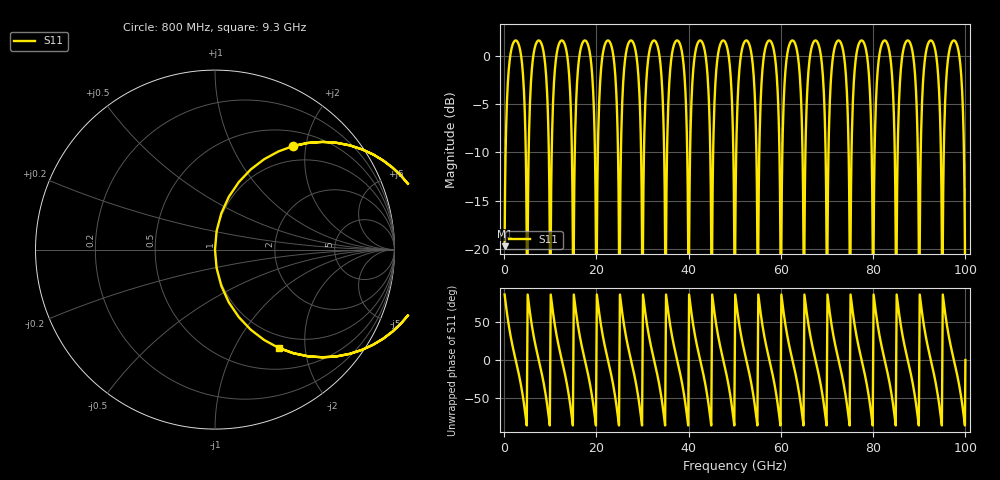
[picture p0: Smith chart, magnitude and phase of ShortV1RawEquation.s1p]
! File created by SignalIntegrity v1.1.4: Signal and Power Integrity Tools
! https://github.com/TeledyneLeCroy/SignalIntegrity
# MHz MA S R 50.0
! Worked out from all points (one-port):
!   1000 points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, 100 MHz to 100 GHz, reference 50 ohm
!   lowest |S11| = -19.7 dB at 100 MHz (marker M1), VSWR 1.23, Z = 49.8 + j10.4 ohm
!   |S11| at or under -10 dB: 4.686 GHz to 5.314 GHz (627.9 MHz wide, 12.6 % of centre); 9.686 GHz to 10.31 GHz (627.9 MHz wide, 6.28 % of centre); 14.69 GHz to 15.31 GHz (627.9 MHz wide, 4.19 % of centre) (the widest 3 of 21)
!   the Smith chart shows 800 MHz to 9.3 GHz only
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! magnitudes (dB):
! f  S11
! 100 MHz  -19.7
! 7.7 GHz  1.5
! 10.1 GHz  -19.7
! 12.6 GHz  1.6
! 15 GHz  -
! 23.2 GHz  1.1
! 25.1 GHz  -19.7
! 26.8 GHz  1.1
! 35 GHz  -
! 37.6 GHz  1.6
! 40 GHz  -
! 48.2 GHz  1.1
! 50.1 GHz  -19.7
! 51.8 GHz  1.1
! 60 GHz  -
! 62.6 GHz  1.6
! 65 GHz  -
! 73.2 GHz  1.1
! 75.1 GHz  -19.7
! 76.8 GHz  1.1
! 85 GHz  -
! 87.6 GHz  1.6
! 90 GHz  -
! 91.7 GHz  0.9
! 95 GHz  -
! 98.7 GHz  -0.1
! 99.4 GHz  -4.8
! 100 GHz  -
